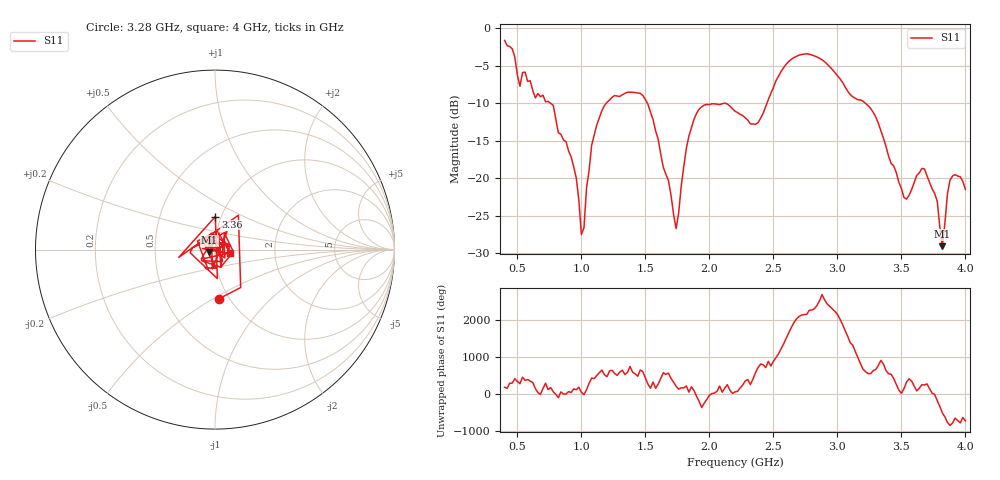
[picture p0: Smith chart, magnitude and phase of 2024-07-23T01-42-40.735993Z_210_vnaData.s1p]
!Created with skrf (http://scikit-rf.org).
# Hz S RI R 50.0
!freq ReS11 ImS11
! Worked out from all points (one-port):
!   181 points, 400 MHz to 4 GHz, reference 50 ohm
!   lowest |S11| = -29.1 dB at 3.82 GHz (marker M1), VSWR 1.07, Z = 46.9 - j1.33 ohm
!   |S11| at or under -10 dB: 757.5 MHz to 1.195 GHz (437.8 MHz wide, 44.8 % of centre); 1.515 GHz to 2.45 GHz (935.3 MHz wide, 47.2 % of centre); 3.218 GHz to end of sweep
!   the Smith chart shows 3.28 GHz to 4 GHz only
!   S11 on the Smith chart (normalised r, x): 3.28 GHz: 0.90, -0.53; 3.36 GHz: 0.94, +0.36; 4 GHz: 1.18, -0.04
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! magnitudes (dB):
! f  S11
! 400 MHz  -1.7
! 520 MHz  -7.8
! 560 MHz  -5.9
! 780 MHz  -10.3
! 860 MHz  -14.9
! 960 MHz  -20.0
! 1 GHz  -27.5
! 1.08 GHz  -15.6
! 1.12 GHz  -12.9
! 1.3 GHz  -9.1
! 1.52 GHz  -10.2
! 1.74 GHz  -26.7
! 1.76 GHz  -24.6
! 1.82 GHz  -16.0
! 1.9 GHz  -11.4
! 2.2 GHz  -11.1
! 2.38 GHz  -12.6
! 2.66 GHz  -3.9
! 2.88 GHz  -4.2
! 3.1 GHz  -8.9
! 3.28 GHz  -11.2
! 3.36 GHz  -14.7
! 3.56 GHz  -22.3
! 3.68 GHz  -18.8
! 3.78 GHz  -23.1
! 3.82 GHz  -29.1
! 3.88 GHz  -20.3
! 4 GHz  -21.5
